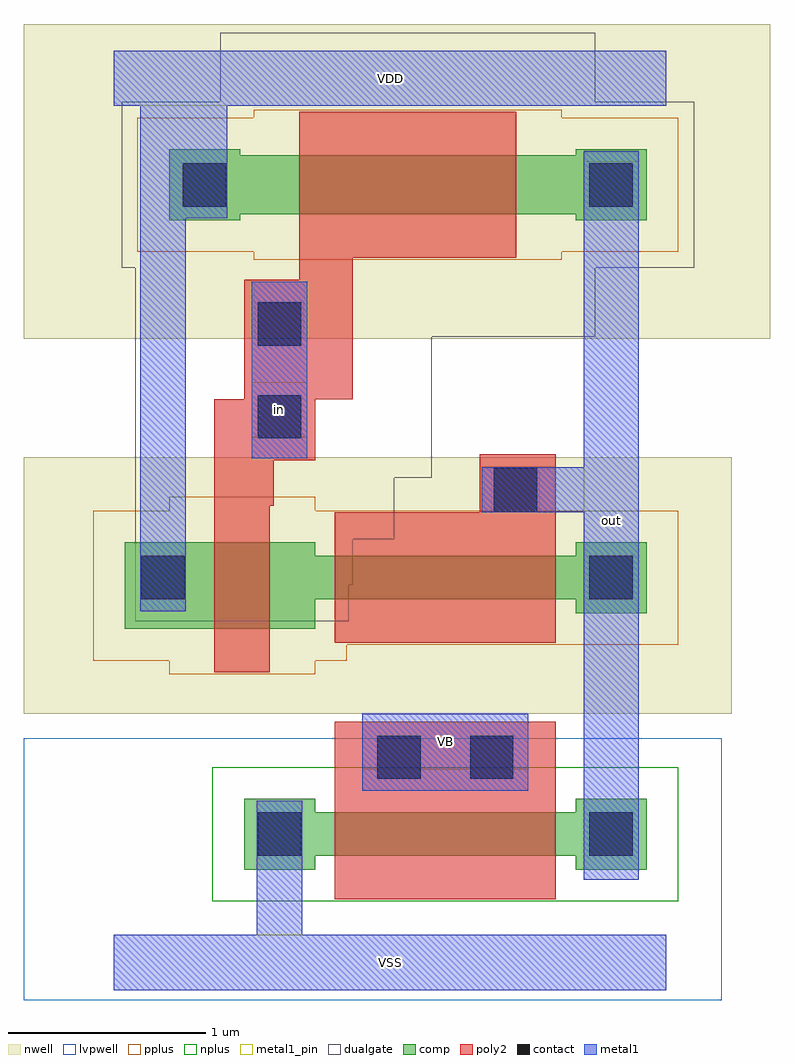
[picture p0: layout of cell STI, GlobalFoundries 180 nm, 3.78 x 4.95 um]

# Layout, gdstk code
import gdstk
lib = gdstk.Library(unit=1e-6, precision=1e-09)
def R(c, l, rs):  # rectangles x0, y0, x1, y1
    for r in rs: c.add(gdstk.rectangle(r[:2], r[2:], *l))
nwell = (21, 0)
comp = (22, 0)
poly2 = (30, 0)
pplus = (31, 0)
nplus = (32, 0)
contact = (33, 0)
metal1 = (34, 0)
metal1_pin = (34, 10)
dualgate = (55, 0)
lvpwell = (204, 0)

sti = lib.new_cell('STI')
R(sti, nwell, [(-0.455,1.26,3.13,2.56), (-0.455,3.16,3.325,4.755)])
R(sti, comp, [(0.66,0.47,1.02,0.54), (2.34,0.47,2.7,0.54), (0.66,0.54,2.7,0.76), (0.66,0.76,1.02,0.83), (2.34,0.76,2.7,0.83), (0.055,1.69,1.02,1.84), (2.34,1.77,2.7,1.84), (0.055,1.84,2.7,2.06), (0.055,2.06,1.02,2.13), (2.34,2.06,2.7,2.13), (0.28,3.76,0.64,3.79), (2.34,3.76,2.7,3.79), (0.28,3.79,2.7,4.09), (0.28,4.09,0.64,4.12), (2.34,4.09,2.7,4.12)])
R(sti, poly2, [(1.12,0.32,2.24,1.22), (0.51,1.47,0.79,2.315), (1.12,1.62,2.24,2.28), (1.855,2.28,2.24,2.575), (0.51,2.315,0.81,2.545), (0.51,2.545,1.02,2.855), (0.66,2.855,1.21,3.46), (0.94,3.46,1.21,3.57), (0.94,3.57,2.04,4.31)])
R(sti, pplus, [(0.28,1.46,1.02,1.53), (-0.105,1.53,1.18,1.61), (-0.105,1.61,2.86,2.29), (0.28,2.29,1.02,2.36), (0.71,3.56,2.27,3.6), (0.12,3.6,2.86,4.28), (0.71,4.28,2.27,4.32)])
R(sti, nplus, [(0.5,0.31,2.86,0.99)])
R(sti, contact, [(0.73,0.54,0.95,0.76), (2.41,0.54,2.63,0.76), (1.335,0.93,1.555,1.15), (1.805,0.93,2.025,1.15), (0.14,1.84,0.36,2.06), (2.41,1.84,2.63,2.06), (1.925,2.285,2.145,2.505), (0.73,2.655,0.95,2.875), (0.73,3.125,0.95,3.345), (0.35,3.83,0.57,4.05), (2.41,3.83,2.63,4.05)])
R(sti, metal1, [(0,-0.14,2.8,0.14), (0.725,0.14,0.955,0.82), (2.38,0.42,2.66,2.28), (1.26,0.87,2.1,1.26), (0.135,1.78,0.365,3.77), (1.865,2.28,2.66,2.51), (2.38,2.51,2.66,4.11), (0.7,2.555,0.98,3.45), (0.135,3.77,0.575,4.34), (0,4.34,2.8,4.62)])
R(sti, metal1_pin, [(0,-0.14,2.8,0.14), (2.38,0.42,2.66,4.06), (1.26,0.98,2.1,1.26), (0.7,2.66,0.98,2.94), (0,4.34,2.8,4.62)])
R(sti, dualgate, [(0.11,1.73,1.19,1.915), (0.11,1.915,1.21,2.145), (0.11,2.145,1.42,2.455), (0.11,2.455,1.61,3.17), (0.11,3.17,2.44,3.52), (0.04,3.52,2.94,4.36), (0.54,4.36,2.44,4.71)])
R(sti, lvpwell, [(-0.455,-0.19,3.08,1.135)])
sti.add(gdstk.Label('VDD', (1.4,4.48), layer=34, texttype=10))
sti.add(gdstk.Label('VSS', (1.4,0), layer=34, texttype=10))
sti.add(gdstk.Label('out', (2.52,2.24), layer=34, texttype=10))
sti.add(gdstk.Label('in', (0.84,2.8), layer=34, texttype=10))
sti.add(gdstk.Label('VB', (1.68,1.12), layer=34, texttype=10))

lib.write_gds('STI.gds')
